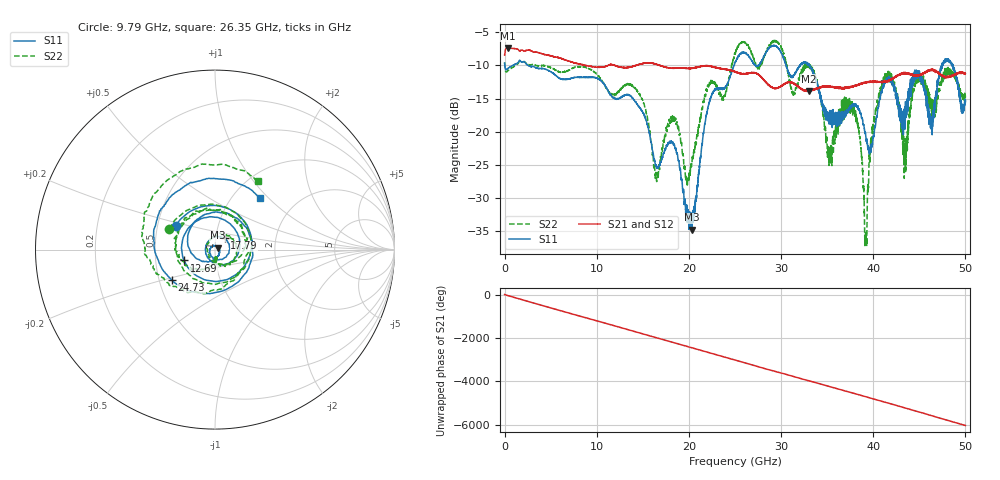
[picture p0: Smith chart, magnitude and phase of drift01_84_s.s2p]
!Created with skrf (http://scikit-rf.org).
# Hz S RI R 50.0
!freq ReS11 ImS11 ReS21 ImS21 ReS12 ImS12 ReS22 ImS22
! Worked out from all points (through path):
!   10001 points, 300 kHz to 50 GHz, reference 50 ohm
!   highest |S21| = -7.33 dB at 335.3 MHz (marker M1); lowest = -13.9 dB at 33.02 GHz (marker M2)
!   group delay of S21, straight-line fit = 335 ps
!   lowest |S11| = -34.9 dB at 20.33 GHz (marker M3), VSWR 1.04, Z = 51.5 + j1.07 ohm
!   |S11| at or under -10 dB: 2.567 GHz to 24.9 GHz (22.33 GHz wide, 163 % of centre); 30.54 GHz to 32.04 GHz (1.502 GHz wide, 4.8 % of centre); 33.11 GHz to 47.44 GHz (14.33 GHz wide, 35.6 % of centre) (the widest 3 of 20)
!   |S22| runs from -37.4 to -6.2 dB; largest |S21 - S12| = 0.011
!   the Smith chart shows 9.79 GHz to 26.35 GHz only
!   S11 on the Smith chart (normalised r, x): 9.79 GHz: 0.62, +0.18; 12.69 GHz: 0.70, -0.09; 17.79 GHz: 1.10, +0.14; 24.73 GHz: 0.58, -0.22; 26.35 GHz: 1.33, +0.89
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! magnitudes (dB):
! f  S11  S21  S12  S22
! 300 kHz  -9.6  -8.4  -8.5  -9.5
! 335.3 MHz  -10.5  -7.3  -7.3  -10.8
! 8.335 GHz  -11.8  -9.8  -9.8  -10.2
! 9.79 GHz  -11.8  -10.2  -10.2  -11.1
! 12.69 GHz  -14.8  -10.3  -10.3  -13.4
! 16.67 GHz  -25.5  -9.9  -9.9  -26.6
! 17.79 GHz  -21.7  -10.4  -10.4  -19.2
! 20.33 GHz  -34.9  -10.4  -10.4  -24.5
! 22.24 GHz  -15.4  -10.1  -10.1  -12.7
! 24.73 GHz  -10.6  -10.8  -10.8  -9.6
! 25 GHz  -9.6  -11.0  -11.0  -8.2
! 26.35 GHz  -8.4  -11.2  -11.2  -6.9
! 33.02 GHz  -9.8  -13.9  -13.8  -10.1
! 33.34 GHz  -10.7  -13.8  -13.7  -10.5
! 35.28 GHz  -18.1  -13.2  -13.2  -22.7
! 38.04 GHz  -16.1  -13.0  -13.0  -17.7
! 39.21 GHz  -20.9  -12.6  -12.6  -35.7
! 40.1 GHz  -20.4  -12.5  -12.5  -17.7
! 41.67 GHz  -11.8  -12.2  -12.3  -12.0
! 43.45 GHz  -16.9  -11.3  -11.2  -24.1
! 44.89 GHz  -11.4  -11.5  -11.5  -12.3
! 50 GHz  -15.5  -11.2  -11.3  -14.8
